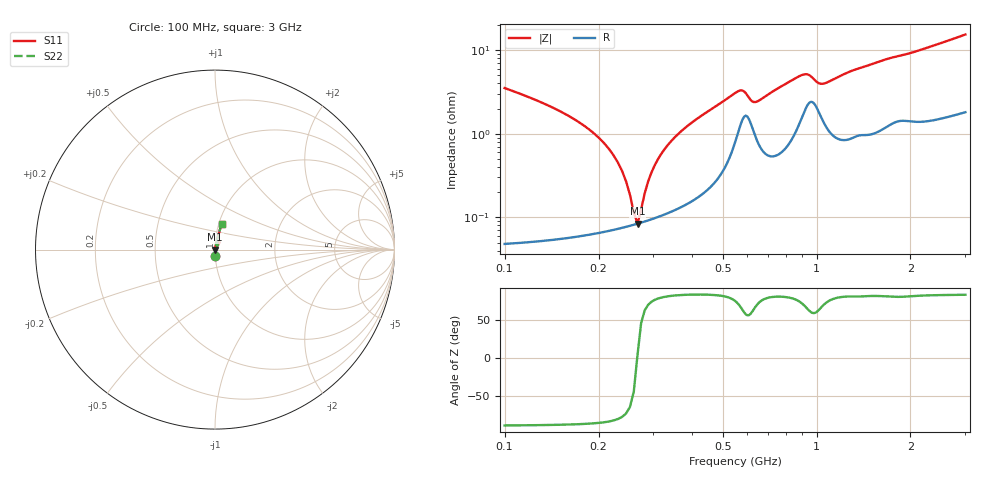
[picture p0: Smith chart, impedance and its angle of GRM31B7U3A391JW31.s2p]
!Murata Part Number: GRM31B7U3A391JW31
!These Parameters are Measured in Series Mode Connection
!Data Generated on Mar 30, 2021
!  o--ll--o
!Port1  Port2
!  o------o
!Operation Temp=25[degC], DC Bias Voltage=0[V]
!Freq. Start=100[MHz] Stop=3[GHz] 401[Steps]
# Hz S RI R 50
!Freq.(Hz) S11(Real) S11(Imag) S21(Real) S21(Imag) S12(Real) S12(Imag) S22(Real) S22(Imag)
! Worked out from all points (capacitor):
!   401 points, 100 MHz to 3 GHz, reference 50 ohm
!   read as one part in series: C = 388 pF near 114.5 MHz
!   lowest |Z| = 84.2 mohm at 266.8 MHz (marker M1)
!   series resonance near 266.2 MHz, so ESL is about 920 pH
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1e8  0.00171 -0.0351  0.9983 0.0351  0.9983 0.0351  0.00171 -0.0351
1.58e8  0.000847 -0.0168  0.9992 0.0168  0.9992 0.0168  0.000847 -0.0168
2.015e8  0.000729 -0.00874  0.9993 0.00874  0.9993 0.00874  0.000729 -0.00874
2.2325e8  0.000738 -0.0055  0.9993 0.0055  0.9993 0.0055  0.000738 -0.0055
2.3775e8  0.00076 -0.00353  0.9992 0.00353  0.9992 0.00353  0.00076 -0.00353
2.5225e8  0.000794 -0.00168  0.9992 0.00168  0.9992 0.00168  0.000794 -0.00168
2.6675e8  0.000839 5.98e-05  0.9992 -5.98e-05  0.9992 -5.98e-05  0.000839 5.98e-05
2.74e8  0.000865 0.0009  0.9991 -0.0009  0.9991 -0.0009  0.000865 0.0009
2.9575e8  0.000959 0.00331  0.999 -0.00331  0.999 -0.00331  0.000959 0.00331
3.1025e8  0.00103 0.00485  0.999 -0.00485  0.999 -0.00485  0.00103 0.00485
3.61e8  0.00138 0.00991  0.9986 -0.00991  0.9986 -0.00991  0.00138 0.00991
4.8425e8  0.00343 0.022  0.9966 -0.022  0.9966 -0.022  0.00343 0.022
5.5675e8  0.0103 0.0297  0.9897 -0.0297  0.9897 -0.0297  0.0103 0.0297
5.8575e8  0.0164 0.0269  0.9836 -0.0269  0.9836 -0.0269  0.0164 0.0269
6.4375e8  0.00878 0.0223  0.9912 -0.0223  0.9912 -0.0223  0.00878 0.0223
9.12e8  0.0199 0.0461  0.9801 -0.0461  0.9801 -0.0461  0.0199 0.0461
1.02075e9  0.0185 0.0346  0.9815 -0.0346  0.9815 -0.0346  0.0185 0.0346
1.0715e9  0.0135 0.0376  0.9865 -0.0376  0.9865 -0.0376  0.0135 0.0376
1.55e9  0.0149 0.0682  0.9851 -0.0682  0.9851 -0.0682  0.0149 0.0682
2.03575e9  0.022 0.0896  0.978 -0.0896  0.978 -0.0896  0.022 0.0896
2.5215e9  0.0288 0.116  0.9712 -0.116  0.9712 -0.116  0.0288 0.116
3e9  0.0393 0.1439  0.9607 -0.1439  0.9607 -0.1439  0.0393 0.1439
